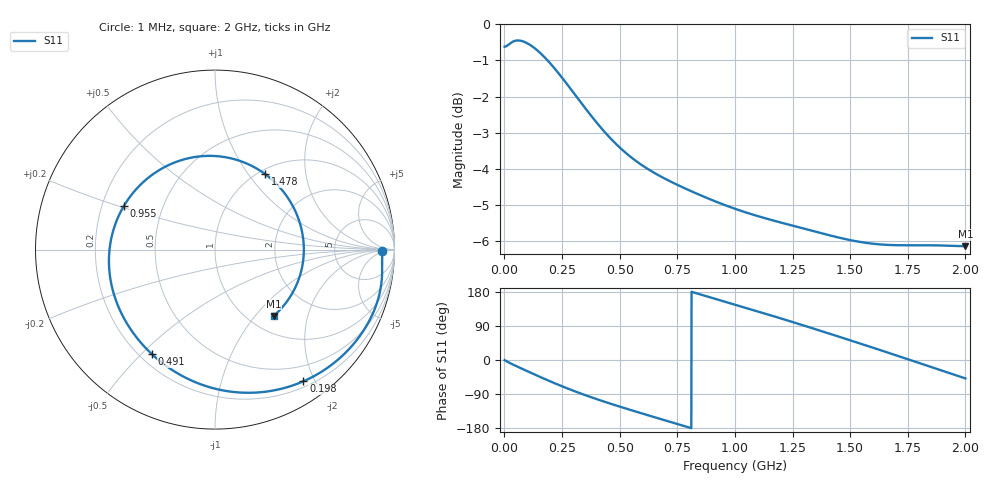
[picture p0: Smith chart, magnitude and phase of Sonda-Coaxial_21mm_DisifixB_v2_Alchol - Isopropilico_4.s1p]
! TOUCHSTONE file generated by CST MICROWAVE STUDIO
! Date and time: Sun Aug  2 11:31:14 2026
! Project name: Sonda-Coaxial_21mm_DisifixB_v2_Alchol - Isopropilico.cst
! Parameters = {h_recipiente=20; l_conector=50; r_arandela=35; r_ext=10.5; r_int=3; r_recipiente=100; z_recipiente=-80}
! Header version: 2018
! Port assignment regex: !\s*Touchstone port\s*([0-9]+)\s*=\s*(CST MWS port|CST DS port)\s*([0-9]+|Zmin|Zmax)\s*\(\"(.*)\"\)(\s*mode\s*([0-9]+))?.*
! Touchstone port assignment:
! Touchstone port 1 = CST MWS port 1 ("")
# GHz S RI R 50
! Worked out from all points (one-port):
!   2000 points, 1 MHz to 2 GHz, reference 50 ohm
!   lowest |S11| = -6.1 dB at 2 GHz (marker M1), VSWR 2.95, Z = 64 - j62.7 ohm
!   |S11| at or under -10 dB: nowhere
!   S11 on the Smith chart (normalised r, x): 1 MHz: 28, -2; 198 MHz: 0.28, -1.84; 491 MHz: 0.25, -0.54; 955 MHz: 0.29, +0.21; 1.478 GHz: 1.07, +1.21; 2 GHz: 1.28, -1.25
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0.001  0.9312 -0.00573
0.044  0.9203 -0.2289
0.085  0.8539 -0.4071
0.143  0.6895 -0.6095
0.198  0.4927 -0.7337
0.251  0.2948 -0.79
0.307  0.099 -0.7928
0.371  -0.0926 -0.7455
0.429  -0.2334 -0.6742
0.491  -0.3527 -0.5815
0.501  -0.3693 -0.5655
0.562  -0.4566 -0.4633
0.625  -0.5234 -0.351
0.688  -0.5676 -0.2338
0.751  -0.5889 -0.1142
0.85  -0.5764 0.0695
0.955  -0.507 0.2442
1.001  -0.461 0.3107
1.131  -0.2894 0.4553
1.251  -0.0924 0.5186
1.362  0.0994 0.506
1.478  0.28 0.4202
1.501  0.311 0.3955
1.631  0.4457 0.2184
1.751  0.4947 0.0161
1.809  0.4875 -0.086
1.867  0.4592 -0.1845
2  0.3265 -0.3701
